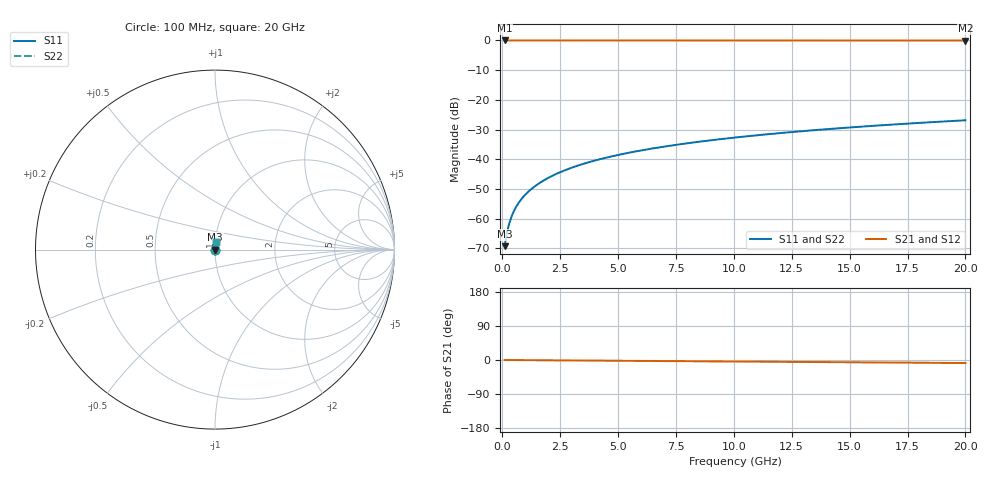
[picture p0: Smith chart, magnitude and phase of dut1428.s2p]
! Touchstone file exported from HFSS 2026.1.0
!  File:  C:/ffzhzh/LocalFiles/Ansys_Project_Files/temp_train_TSV_1428_1783197423_22436.aedt
!  Generated:  04:38:46 AM Jul  5, 2026
!  Design:  TSV
!  Project:  temp_train_TSV_1428_1783197423_22436
! Variables:
!  h_bsmrdl = 2um
!  h_ox = 20um
!  h_rdl = 5um
!  h_sub = 73.18um
!  h_tmrdl = 5um
!  h_tsv = 73.18um
!  h_via = 3um
!  l_bsmrdl = 300um
!  l_sub = 413.6um
!  l_tmrdl = 200um
!  m_sub = 200um
!  pitch = 42.88um
!  r_tsv = 6.8um
!  s_tmrdl = 10um
!  w_bsmrdl = 18um
!  w_sub = 500um
!  w_tmrdl = 12um
!  x_tsv_center1 = 206um
!  x_tsv_center2 = 524um
!  x_tsv_center3 = 736um
!  x_tsv_center4 = 1054um
!  x_tsv_center5 = 1266um
!  x_tsv_center6 = 1584um
# GHz S MA R 50.000000
! Terminal data exported
! Port[1] = TSV1_1_T1
! Port[2] = TSV1_1_T2
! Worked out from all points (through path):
!   200 points, 100 MHz to 20 GHz, reference 50 ohm
!   highest |S21| = 0.00 dB at 100 MHz (marker M1); lowest = 0.0 dB at 20 GHz (marker M2)
!   group delay of S21, straight-line fit = 1.1 ps
!   lowest |S11| = -69.2 dB at 100 MHz (marker M3), VSWR 1.00, Z = 50 + j0.0269 ohm
!   |S11| at or under -10 dB: start of sweep to end of sweep
!   |S22| runs from -69.2 to -26.9 dB; largest |S21 - S12| = 3.9e-15
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0.1  0.0003452 51.1  0.9998 -0.0  0.9998 -0.0  0.0003452 51.1
! Gamma 0 0 0 0
! Port Impedance 50 0 50 0
0.2  0.0005814 67.0  0.9998 -0.1  0.9998 -0.1  0.0005814 67.0
0.3  0.0008344 73.1  0.9998 -0.1  0.9998 -0.1  0.0008344 73.1
0.4  0.001089 76.1  0.9997 -0.2  0.9997 -0.2  0.001089 76.1
0.5  0.001341 77.8  0.9997 -0.2  0.9997 -0.2  0.001341 77.8
0.6  0.00159 78.8  0.9997 -0.3  0.9997 -0.3  0.00159 78.8
0.7  0.001836 79.6  0.9997 -0.3  0.9997 -0.3  0.001836 79.6
0.8  0.002078 80.2  0.9997 -0.3  0.9997 -0.3  0.002078 80.2
1  0.002557 81.1  0.9996 -0.4  0.9996 -0.4  0.002557 81.1
1.4  0.0035 82.2  0.9996 -0.6  0.9996 -0.6  0.0035 82.2
1.7  0.004201 82.8  0.9995 -0.7  0.9995 -0.7  0.004201 82.8
2  0.004901 83.3  0.9995 -0.8  0.9995 -0.8  0.004901 83.3
2.7  0.00653 83.9  0.9994 -1.1  0.9994 -1.1  0.00653 83.9
3.5  0.008383 84.1  0.9993 -1.4  0.9993 -1.4  0.008383 84.1
4.2  0.009996 84.2  0.9992 -1.7  0.9992 -1.7  0.009996 84.2
5  0.01183 84.2  0.9992 -2.0  0.9992 -2.0  0.01183 84.2
6.8  0.01592 84.0  0.999 -2.7  0.999 -2.7  0.01592 84.0
8.3  0.01931 83.7  0.9988 -3.3  0.9988 -3.3  0.01931 83.7
10.1  0.02336 83.2  0.9986 -4.0  0.9986 -4.0  0.02336 83.2
13.4  0.03075 82.3  0.9983 -5.3  0.9983 -5.3  0.03075 82.3
16.7  0.03809 81.2  0.9979 -6.7  0.9979 -6.7  0.03809 81.2
20  0.04538 80.1  0.9974 -8.0  0.9974 -8.0  0.04538 80.1
